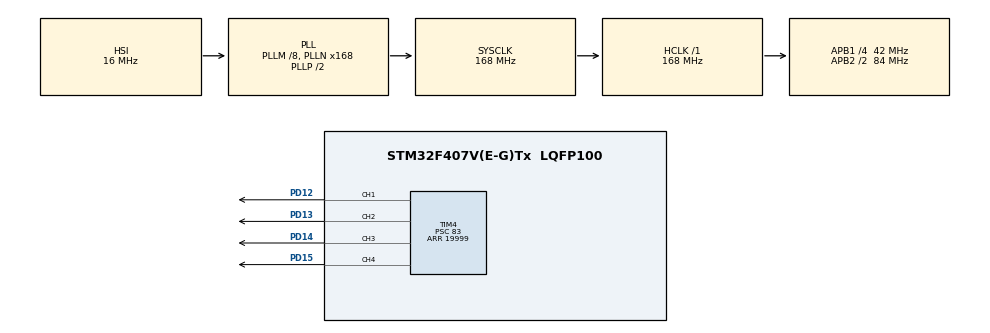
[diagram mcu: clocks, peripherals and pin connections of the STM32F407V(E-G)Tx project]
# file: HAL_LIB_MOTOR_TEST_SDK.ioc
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Mcu.Family=STM32F4
Mcu.Name=STM32F407V(E-G)Tx
Mcu.Package=LQFP100
NVIC.PriorityGroup=NVIC_PRIORITYGROUP_4
PD12.Signal=S_TIM4_CH1
PD13.Signal=S_TIM4_CH2
PD14.Signal=S_TIM4_CH3
PD15.Signal=S_TIM4_CH4
ProjectManager.HeapSize=0x200
ProjectManager.StackSize=0x400
ProjectManager.TargetToolchain=STM32CubeIDE
RCC.48MHZClocksFreq_Value=84000000
RCC.AHBFreq_Value=168000000
RCC.APB1CLKDivider=RCC_HCLK_DIV4
RCC.APB1Freq_Value=42000000
RCC.APB1TimFreq_Value=84000000
RCC.APB2CLKDivider=RCC_HCLK_DIV2
RCC.APB2Freq_Value=84000000
RCC.APB2TimFreq_Value=168000000
RCC.CortexFreq_Value=168000000
RCC.HCLKFreq_Value=168000000
RCC.HSE_VALUE=25000000
RCC.HSI_VALUE=16000000
RCC.LSE_VALUE=32768
RCC.PLLM=8
RCC.PLLN=168
RCC.SYSCLKFreq_VALUE=168000000
RCC.SYSCLKSource=RCC_SYSCLKSOURCE_PLLCLK
RCC.VCOOutputFreq_Value=336000000
SH.S_TIM4_CH1.0=TIM4_CH1,PWM Generation1 CH1
SH.S_TIM4_CH2.0=TIM4_CH2,PWM Generation2 CH2
SH.S_TIM4_CH3.0=TIM4_CH3,PWM Generation3 CH3
SH.S_TIM4_CH4.0=TIM4_CH4,PWM Generation4 CH4
TIM4.Channel-PWM\ Generation1\ CH1=TIM_CHANNEL_1
TIM4.Channel-PWM\ Generation2\ CH2=TIM_CHANNEL_2
TIM4.Channel-PWM\ Generation3\ CH3=TIM_CHANNEL_3
TIM4.Channel-PWM\ Generation4\ CH4=TIM_CHANNEL_4
TIM4.Period=19999
TIM4.Prescaler=83
board=custom

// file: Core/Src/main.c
/* USER CODE BEGIN Header */
/**
  ******************************************************************************
  * @file           : main.c
  * @brief          : Main program body
  ******************************************************************************
  * @attention
  *
  * Copyright (c) 2022 STMicroelectronics.
  * All rights reserved.
  *
  * This software is licensed under terms that can be found in the LICENSE file
  * in the root directory of this software component.
  * If no LICENSE file comes with this software, it is provided AS-IS.
  *
  ******************************************************************************
  */
/* USER CODE END Header */
#include "main.h"

TIM_HandleTypeDef htim4;

void SystemClock_Config(void);
static void MX_GPIO_Init(void);
static void MX_TIM4_Init(void);

int main(void)
{

  /* MCU Configuration--------------------------------------------------------*/

  /* Reset of all peripherals, Initializes the Flash interface and the Systick. */
  HAL_Init();

  /* Configure the system clock */
  SystemClock_Config();

  /* Initialize all configured peripherals */
  MX_GPIO_Init();
  MX_TIM4_Init();
  /* USER CODE BEGIN 2 */

HAL_TIM_PWM_Start(&htim4, TIM_CHANNEL_1);
HAL_TIM_PWM_Start(&htim4, TIM_CHANNEL_2);
HAL_TIM_PWM_Start(&htim4, TIM_CHANNEL_3);
HAL_TIM_PWM_Start(&htim4, TIM_CHANNEL_4);

__HAL_TIM_SET_COMPARE(&htim4,TIM_CHANNEL_1, 1500);
__HAL_TIM_SET_COMPARE(&htim4,TIM_CHANNEL_2, 1500);
__HAL_TIM_SET_COMPARE(&htim4,TIM_CHANNEL_3, 1500);
__HAL_TIM_SET_COMPARE(&htim4,TIM_CHANNEL_4, 1500);

HAL_Delay(7000);
  /* USER CODE END 2 */

  /* Infinite loop */
  while (1)
  {

    /* USER CODE BEGIN 3 */
	  __HAL_TIM_SET_COMPARE(&htim4, TIM_CHANNEL_1, 1700);
	  __HAL_TIM_SET_COMPARE(&htim4, TIM_CHANNEL_2, 1700);
	  __HAL_TIM_SET_COMPARE(&htim4, TIM_CHANNEL_3, 1700);
	  __HAL_TIM_SET_COMPARE(&htim4, TIM_CHANNEL_4, 1700);
	  HAL_Delay(5000);
	  __HAL_TIM_SET_COMPARE(&htim4, TIM_CHANNEL_1, 1500);
	  __HAL_TIM_SET_COMPARE(&htim4, TIM_CHANNEL_2, 1500);
	  __HAL_TIM_SET_COMPARE(&htim4, TIM_CHANNEL_3, 1500);
	  __HAL_TIM_SET_COMPARE(&htim4, TIM_CHANNEL_4, 1500);
	  HAL_Delay(7500);
  }
  /* USER CODE END 3 */
}

void SystemClock_Config(void)
{
  RCC_OscInitTypeDef RCC_OscInitStruct = {0};
  RCC_ClkInitTypeDef RCC_ClkInitStruct = {0};

  /** Configure the main internal regulator output voltage
  */
  __HAL_RCC_PWR_CLK_ENABLE();
  __HAL_PWR_VOLTAGESCALING_CONFIG(PWR_REGULATOR_VOLTAGE_SCALE1);
  /** Initializes the RCC Oscillators according to the specified parameters
  * in the RCC_OscInitTypeDef structure.
  */
  RCC_OscInitStruct.OscillatorType = RCC_OSCILLATORTYPE_HSI;
  RCC_OscInitStruct.HSIState = RCC_HSI_ON;
  RCC_OscInitStruct.HSICalibrationValue = RCC_HSICALIBRATION_DEFAULT;
  RCC_OscInitStruct.PLL.PLLState = RCC_PLL_ON;
  RCC_OscInitStruct.PLL.PLLSource = RCC_PLLSOURCE_HSI;
  RCC_OscInitStruct.PLL.PLLM = 8;
  RCC_OscInitStruct.PLL.PLLN = 168;
  RCC_OscInitStruct.PLL.PLLP = RCC_PLLP_DIV2;
  RCC_OscInitStruct.PLL.PLLQ = 4;
  if (HAL_RCC_OscConfig(&RCC_OscInitStruct) != HAL_OK)
  {
    Error_Handler();
  }
  /** Initializes the CPU, AHB and APB buses clocks
  */
  RCC_ClkInitStruct.ClockType = RCC_CLOCKTYPE_HCLK|RCC_CLOCKTYPE_SYSCLK
                              |RCC_CLOCKTYPE_PCLK1|RCC_CLOCKTYPE_PCLK2;
  RCC_ClkInitStruct.SYSCLKSource = RCC_SYSCLKSOURCE_PLLCLK;
  RCC_ClkInitStruct.AHBCLKDivider = RCC_SYSCLK_DIV1;
  RCC_ClkInitStruct.APB1CLKDivider = RCC_HCLK_DIV4;
  RCC_ClkInitStruct.APB2CLKDivider = RCC_HCLK_DIV2;

  if (HAL_RCC_ClockConfig(&RCC_ClkInitStruct, FLASH_LATENCY_5) != HAL_OK)
  {
    Error_Handler();
  }
}

static void MX_TIM4_Init(void)
{

  TIM_MasterConfigTypeDef sMasterConfig = {0};
  TIM_OC_InitTypeDef sConfigOC = {0};

  htim4.Instance = TIM4;
  htim4.Init.Prescaler = 83;
  htim4.Init.CounterMode = TIM_COUNTERMODE_UP;
  htim4.Init.Period = 19999;
  htim4.Init.ClockDivision = TIM_CLOCKDIVISION_DIV1;
  htim4.Init.AutoReloadPreload = TIM_AUTORELOAD_PRELOAD_DISABLE;
  if (HAL_TIM_PWM_Init(&htim4) != HAL_OK)
  {
    Error_Handler();
  }
  sMasterConfig.MasterOutputTrigger = TIM_TRGO_RESET;
  sMasterConfig.MasterSlaveMode = TIM_MASTERSLAVEMODE_DISABLE;
  if (HAL_TIMEx_MasterConfigSynchronization(&htim4, &sMasterConfig) != HAL_OK)
  {
    Error_Handler();
  }
  sConfigOC.OCMode = TIM_OCMODE_PWM1;
  sConfigOC.Pulse = 0;
  sConfigOC.OCPolarity = TIM_OCPOLARITY_HIGH;
  sConfigOC.OCFastMode = TIM_OCFAST_DISABLE;
  if (HAL_TIM_PWM_ConfigChannel(&htim4, &sConfigOC, TIM_CHANNEL_1) != HAL_OK)
  {
    Error_Handler();
  }
  if (HAL_TIM_PWM_ConfigChannel(&htim4, &sConfigOC, TIM_CHANNEL_2) != HAL_OK)
  {
    Error_Handler();
  }
  if (HAL_TIM_PWM_ConfigChannel(&htim4, &sConfigOC, TIM_CHANNEL_3) != HAL_OK)
  {
    Error_Handler();
  }
  if (HAL_TIM_PWM_ConfigChannel(&htim4, &sConfigOC, TIM_CHANNEL_4) != HAL_OK)
  {
    Error_Handler();
  }
  HAL_TIM_MspPostInit(&htim4);

}

static void MX_GPIO_Init(void)
{

  /* GPIO Ports Clock Enable */
  __HAL_RCC_GPIOD_CLK_ENABLE();

}

void Error_Handler(void)
{
  __disable_irq();
  while (1)
  {
  }
}
